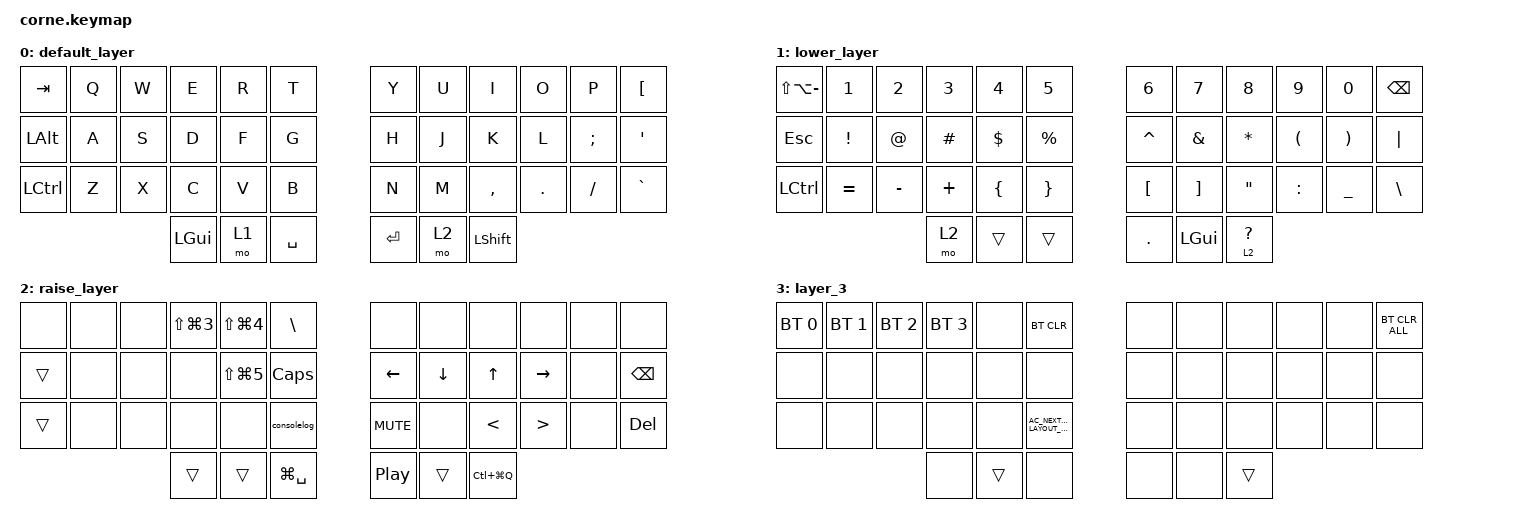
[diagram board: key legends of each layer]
/*
 * Copyright (c) 2020 The ZMK Contributors
 *
 * SPDX-License-Identifier: MIT
 */

#include <behaviors.dtsi>
#include <dt-bindings/zmk/bt.h>
#include <dt-bindings/zmk/keys.h>

/ {
    combos {
        compatible = "zmk,combos";

        combo_esc {
            timeout-ms = <50>;
            key-positions = <0 1>;
            bindings = <&kp ESC>;
        };
    };

    behaviors {
        ss_hs_modmorph: ss_hs_modmorph {
            compatible = "zmk,behavior-mod-morph";
            label = "SS_HS_MODMORPH";
            bindings = <&kp M>, <&kp RIGHT_BRACKET>;

            #binding-cells = <0>;
            mods = <(MOD_LSFT|MOD_RSFT)>;
        };

        kh_hs_tapdance: kh_hs_tapdance {
            compatible = "zmk,behavior-tap-dance";
            label = "KH_HS_TAPDANCE";
            #binding-cells = <0>;
            tapping-term-ms = <200>;
            bindings = <&kp LEFT_BRACKET>, <&kp RIGHT_BRACKET>;
        };

        hrm: hrm {
            compatible = "zmk,behavior-hold-tap";
            #binding-cells = <2>;
            flavor = "tap-preferred";
            tapping-term-ms = <200>;
            quick-tap-ms = <200>;
            require-prior-idle-ms = <125>;
            bindings = <&kp>, <&kp>;
        };
    };

    macros {
        consolelog: consolelog {
            compatible = "zmk,behavior-macro";
            #binding-cells = <0>;
            bindings = <&kp C &kp O &kp N &kp S &kp O &kp L &kp E &kp DOT &kp L &kp O &kp G &kp LPAR &kp RPAR &kp LEFT>;
            label = "CONSOLELOG";
        };
    };

    keymap {
        compatible = "zmk,keymap";

        default_layer {
            // -----------------------------------------------------------------------------------------
            // |  TAB |  Q  |  W  |  E  |  R  |  T  |   |  Y  |  U   |  I  |  O  |  P  | BKSP |
            // | CTRL |  A  |  S  |  D  |  F  |  G  |   |  H  |  J   |  K  |  L  |  ;  |  '   |
            // | SHFT |  Z  |  X  |  C  |  V  |  B  |   |  N  |  M   |  ,  |  .  |  /  | ESC  |
            //                    | GUI | LWR | SPC |   | ENT | RSE  | ALT |

            bindings = <
&kp TAB       &kp Q  &kp W  &kp E     &kp R  &kp T        &kp Y    &kp U  &kp I           &kp O    &kp P     &kp LEFT_BRACKET
&kp LEFT_ALT  &kp A  &kp S  &kp D     &kp F  &kp G        &kp H    &kp J  &kp K           &kp L    &kp SEMI  &kp SQT
&kp LCTRL     &kp Z  &kp X  &kp C     &kp V  &kp B        &kp N    &kp M  &kp COMMA       &kp DOT  &kp FSLH  &kp GRAVE
                            &kp LGUI  &mo 1  &kp SPACE    &kp RET  &mo 2  &kp LEFT_SHIFT
            >;
        };

        lower_layer {
            // -----------------------------------------------------------------------------------------
            // |  TAB |  1  |  2  |  3  |  4  |  5  |   |  6  |  7  |  8  |  9  |  0  | BKSP |
            // | BTCLR| BT1 | BT2 | BT3 | BT4 | BT5 |   | LFT | DWN |  UP | RGT |     |      |
            // | SHFT |     |     |     |     |     |   |     |     |     |     |     |      |
            //                    | GUI |     | SPC |   | ENT |     | ALT |

            bindings = <
&kp LS(LA(MINUS))  &kp N1           &kp N2       &kp N3    &kp N4          &kp N5             &kp N6            &kp N7             &kp N8             &kp N9                &kp N0                 &kp BSPC
&kp ESCAPE         &kp EXCLAMATION  &kp AT_SIGN  &kp HASH  &kp DOLLAR      &kp PERCENT        &kp CARET         &kp AMPERSAND      &kp ASTERISK       &kp LEFT_PARENTHESIS  &kp RIGHT_PARENTHESIS  &kp PIPE
&kp LCTRL          &kp EQUAL        &kp MINUS    &kp PLUS  &kp LEFT_BRACE  &kp RIGHT_BRACE    &kp LEFT_BRACKET  &kp RIGHT_BRACKET  &kp DOUBLE_QUOTES  &kp COLON             &kp UNDERSCORE         &kp BACKSLASH
                                                 &mo 2     &trans          &trans             &kp DOT           &kp LEFT_GUI       &lt 2 QUESTION
            >;
        };

        raise_layer {
            // -----------------------------------------------------------------------------------------
            // |  TAB |  !  |  @  |  #  |  $  |  %  |   |  ^  |  &  |  *  |  (  |  )  | BKSP |
            // | CTRL |     |     |     |     |     |   |  -  |  =  |  [  |  ]  |  \  |  `   |
            // | SHFT |     |     |     |     |     |   |  _  |  +  |  {  |  }  | "|" |  ~   |
            //                    | GUI |     | SPC |   | ENT |     | ALT |

            bindings = <
&none   &none  &none  &kp LS(LG(NUMBER_3))  &kp LS(LG(NUMBER_4))  &kp BSLH         &none             &none     &none          &none             &none  &none
&trans  &none  &none  &none                 &kp LS(LG(NUMBER_5))  &kp CAPSLOCK     &kp LEFT          &kp DOWN  &kp UP         &kp RIGHT         &none  &kp BSPC
&trans  &none  &none  &none                 &none                 &consolelog      &kp K_MUTE        &none     &kp LESS_THAN  &kp GREATER_THAN  &none  &kp DEL
                      &trans                &trans                &kp LG(SPACE)    &kp C_PLAY_PAUSE  &trans    &kp LC(LG(Q))
            >;
        };

        layer_3 {
            bindings = <
&bt BT_SEL 0  &bt BT_SEL 1  &bt BT_SEL 2  &bt BT_SEL 3  &none   &bt BT_CLR                              &none  &none  &none   &none  &none  &bt BT_CLR_ALL
&none         &none         &none         &none         &none   &none                                   &none  &none  &none   &none  &none  &none
&none         &none         &none         &none         &none   &kp C_AC_NEXT_KEYBOARD_LAYOUT_SELECT    &none  &none  &none   &none  &none  &none
                                          &none         &trans  &none                                   &none  &none  &trans
            >;
        };
    };

    conditional_layers {
        compatible = "zmk,conditional-layers";

        settings {
            if-layers = <1 2>;
            then-layer = <3>;
        };
    };
};
